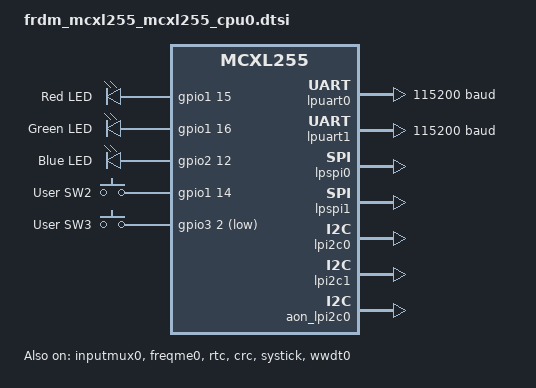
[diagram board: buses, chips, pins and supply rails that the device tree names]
/*
 * Copyright 2025-2026 NXP
 *
 * SPDX-License-Identifier: Apache-2.0
 */

/dts-v1/;

#include <nxp/mcx/mcxl/nxp_mcxl255_cm33.dtsi>
#include "frdm_mcxl255-pinctrl.dtsi"
#include <zephyr/dt-bindings/input/input-event-codes.h>

/ {
	chosen {
		zephyr,sram = &sram0;
		zephyr,flash = &flash;
		zephyr,flash-controller = &fmu;
		zephyr,console = &lpuart0;
		zephyr,shell-uart = &lpuart0;
		zephyr,crc = &crc;
		zephyr,code-partition = &slot0_partition;
		/*
		 * CM0+ runs from AON SRAM; CM33 copies the image here at boot
		 * and releases the core via AON CGU RST_SUB_BLK.CM0P_RST_REL.
		 */
		zephyr,code-cpu1-partition = &aon_sram;
	};

	aliases {
		led0 = &red_led;
		led1 = &green_led;
		led2 = &blue_led;
		sw0 = &user_button_2;
		sw1 = &user_button_3;
		rtc = &rtc;
		watchdog0 = &wwdt0;
		spi-0 = &lpspi0;
		spi-1 = &lpspi1;
		i2c-0 = &lpi2c0;
		i2c-1 = &lpi2c1;
	};

	leds {
		compatible = "gpio-leds";

		red_led: led_0 {
			gpios = <&gpio1 15 GPIO_ACTIVE_HIGH>;
			label = "Red LED";
		};

		green_led: led_1 {
			gpios = <&gpio1 16 GPIO_ACTIVE_HIGH>;
			label = "Green LED";
		};

		blue_led: led_2 {
			gpios = <&gpio2 12 GPIO_ACTIVE_HIGH>;
			label = "Blue LED";
		};
	};

	gpio_keys {
		compatible = "gpio-keys";

		user_button_2: button_0 {
			label = "User SW2";
			gpios = <&gpio1 14 GPIO_ACTIVE_HIGH>;
			zephyr,code = <INPUT_KEY_0>;
		};

		user_button_3: button_1 {
			label = "User SW3";
			gpios = <&gpio3 2 GPIO_ACTIVE_LOW>;
			zephyr,code = <INPUT_KEY_1>;
		};
	};
};

&cpu0 {
	clock-frequency = <DT_FREQ_M(96)>;
};

&edma0 {
	status = "okay";
};

&gpio1 {
	status = "okay";
};

&gpio2 {
	status = "okay";
};

&gpio3 {
	status = "okay";
};

&lpuart0 {
	status = "okay";
	current-speed = <115200>;
	pinctrl-0 = <&pinmux_lpuart0>;
	pinctrl-names = "default";
};

&lpuart1 {
	status = "okay";
	current-speed = <115200>;
	pinctrl-0 = <&pinmux_lpuart1>;
	pinctrl-names = "default";
};

&aon_lpuart0 {
	status = "disabled";
	current-speed = <115200>;
	pinctrl-0 = <&pinmux_aon_lpuart0>;
	pinctrl-names = "default";
};

&lpspi0 {
	status = "okay";
	pinctrl-0 = <&pinmux_lpspi0>;
	pinctrl-names = "default";
};

&lpspi1 {
	status = "okay";
	pinctrl-0 = <&pinmux_lpspi1>;
	pinctrl-names = "default";
};

&inputmux0 {
	status = "okay";
};

&freqme0 {
	status = "okay";
};

&rtc {
	status = "okay";
};

&crc {
	status = "okay";
};

&systick {
	status = "okay";
};

&wwdt0 {
	status = "okay";
};

&lpi2c0 {
	status = "okay";
	pinctrl-0 = <&pinmux_lpi2c0>;
	pinctrl-names = "default";
};

&lpi2c1 {
	status = "okay";
	pinctrl-0 = <&pinmux_lpi2c1>;
	pinctrl-names = "default";
};

&aon_lpi2c0 {
	status = "okay";
	pinctrl-0 = <&pinmux_aon_lpi2c0>;
	pinctrl-names = "default";
};

&mbox_a {
	status = "okay";
};

/*
 * Split CM33 flash (512 KB) into two partitions:
 *   slot0 (0x10000000, 480 KB) - CM33 cpu0 application image
 *   slot1 (0x10078000,  32 KB) - CM0+ cpu1 image storage (LMA slot)
 *
 * The CM33 copies slot1 to AON SRAM at boot via second_core_init()
 * and releases the CM0+ via AON CGU RST_SUB_BLK.CM0P_RST_REL.
 * BUILD_OUTPUT_ADJUST_LMA for the cpu1 build = 0x10078000.
 */
&flash {
	ranges = <0x0 0x10000000 DT_SIZE_K(512)>;
	#address-cells = <1>;
	#size-cells = <1>;

	partitions {
		ranges;
		#address-cells = <1>;
		#size-cells = <1>;

		slot0_partition: partition@0 {
			compatible = "zephyr,mapped-partition";
			label = "image-0";
			reg = <0x00000000 DT_SIZE_K(480)>;
		};

		slot1_partition: partition@78000 {
			compatible = "zephyr,mapped-partition";
			label = "image-1";
			reg = <0x00078000 DT_SIZE_K(32)>;
		};
	};
};
